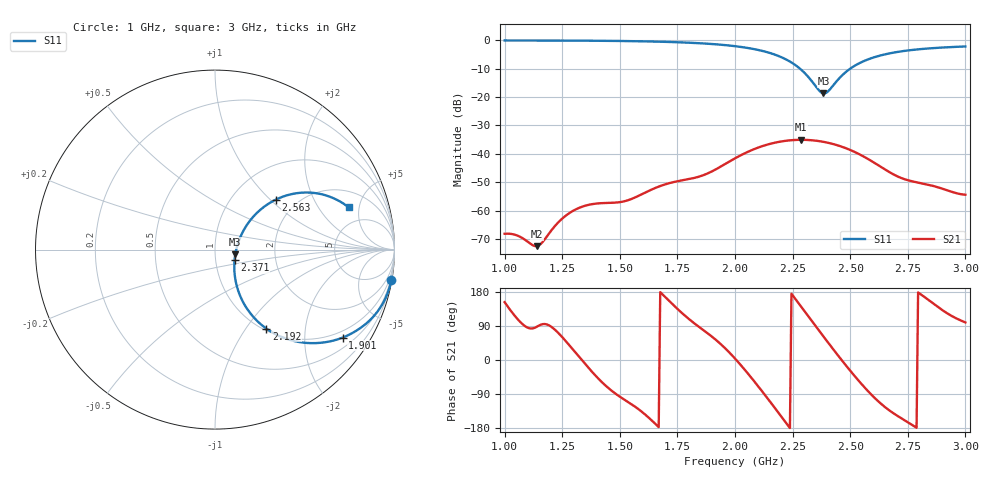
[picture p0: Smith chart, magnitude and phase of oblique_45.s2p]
! TOUCHSTONE file generated by CST MICROWAVE STUDIO
! Date and time: Tue Mar 18 00:01:05 2025
! Project name: oblique.cst
! Parameters = {Tilt=30; Fracture=1; B=10; D=160; F=25; Feed=2.85625; L=100; M=50; R=0.384908; S=1; Theta=270; length=57.125; wave=114.25}
! Header version: 2024
! Port assignment regex: !\s*Touchstone port\s*([0-9]+)\s*=\s*(CST MWS port|CST DES external port|CST DES block port)\s*(.+)\s* \(\"(.*)\"\)(\s*mode\s*([0-9]+))?.*
! Touchstone port assignment:
! Touchstone port 1 = CST MWS port 1 ("")
! Touchstone port 2 = CST MWS port 2 ("")
# GHz S DB R 50
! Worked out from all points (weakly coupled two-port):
!   303 points, 1 GHz to 3 GHz, reference 50 ohm
!   highest |S21| = -35.05 dB at 2.285 GHz (marker M1); lowest = -72.6 dB at 1.139 GHz (marker M2)
!   lowest |S11| = -18.7 dB at 2.384 GHz (marker M3), VSWR 1.26, Z = 62.7 - j3.25 ohm
!   |S11| at or under -10 dB: 2.282 GHz to 2.5 GHz (217.2 MHz wide, 9.08 % of centre)
!   S12 and S22 are empty: the file has one direction only
!   S11 on the Smith chart (normalised r, x): 1 GHz: 0, -12; 1.901 GHz: 0.78, -3.02; 2.192 GHz: 1.03, -1.25; 2.371 GHz: 1.23, -0.15; 2.563 GHz: 1.57, +1.08; 3 GHz: 3.24, +3.92
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1  -0.02 -9.8  -68.20 152.7  -200.00 0.0  -200.00 0.0
1.05298  -0.03 -10.5  -68.75 110.2  -200.00 0.0  -200.00 0.0
1.13907  -0.04 -11.8  -72.56 87.5  -200.00 0.0  -200.00 0.0
1.15894  -0.04 -12.1  -71.63 93.6  -200.00 0.0  -200.00 0.0
1.25166  -0.06 -13.6  -62.72 59.4  -200.00 0.0  -200.00 0.0
1.33775  -0.09 -15.3  -58.61 -2.2  -200.00 0.0  -200.00 0.0
1.52318  -0.23 -19.7  -56.66 -105.8  -200.00 0.0  -200.00 0.0
1.66887  -0.45 -24.3  -51.56 -177.0  -200.00 0.0  -200.00 0.0
1.90066  -1.28 -34.6  -46.16 61.3  -200.00 0.0  -200.00 0.0
2  -2.03 -40.9  -41.59 3.9  -200.00 0.0  -200.00 0.0
2.09934  -3.34 -48.7  -37.83 -68.4  -200.00 0.0  -200.00 0.0
2.19205  -5.61 -57.0  -35.76 -142.0  -200.00 0.0  -200.00 0.0
2.28477  -10.16 -61.7  -35.05 142.5  -200.00 0.0  -200.00 0.0
2.33775  -14.84 -52.5  -35.25 99.3  -200.00 0.0  -200.00 0.0
2.37086  -18.14 -28.4  -35.59 72.5  -200.00 0.0  -200.00 0.0
2.38411  -18.71 -12.7  -35.78 61.9  -200.00 0.0  -200.00 0.0
2.40397  -17.97 10.4  -36.11 46.0  -200.00 0.0  -200.00 0.0
2.48344  -10.99 40.7  -38.09 -15.8  -200.00 0.0  -200.00 0.0
2.56291  -7.17 39.4  -41.15 -72.8  -200.00 0.0  -200.00 0.0
2.66887  -4.61 32.7  -46.39 -132.6  -200.00 0.0  -200.00 0.0
2.74834  -3.57 27.9  -49.26 -163.4  -200.00 0.0  -200.00 0.0
3  -2.14 17.5  -54.42 99.1  -200.00 0.0  -200.00 0.0
